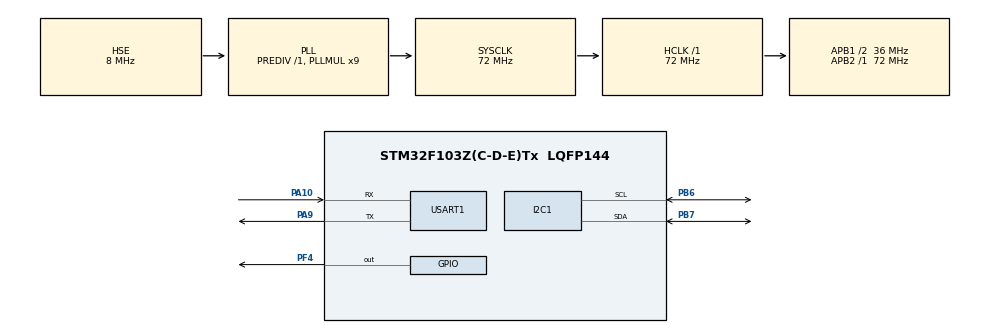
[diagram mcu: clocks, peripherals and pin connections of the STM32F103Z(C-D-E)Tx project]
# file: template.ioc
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Mcu.Family=STM32F1
Mcu.Name=STM32F103Z(C-D-E)Tx
Mcu.Package=LQFP144
NVIC.I2C1_ER_IRQn=true\:0\:0\:false\:false\:true\:true
NVIC.I2C1_EV_IRQn=true\:0\:0\:false\:false\:true\:true
NVIC.PriorityGroup=NVIC_PRIORITYGROUP_4
NVIC.USART1_IRQn=true\:0\:0\:false\:false\:true\:true
OSC_IN.Mode=HSE-External-Oscillator
OSC_IN.Signal=RCC_OSC_IN
OSC_OUT.Mode=HSE-External-Oscillator
OSC_OUT.Signal=RCC_OSC_OUT
PA10.GPIO_PuPd=GPIO_PULLUP
PA10.Mode=Asynchronous
PA10.Signal=USART1_RX
PA13.Mode=Trace_Synchro_4bits_SW
PA13.Signal=SYS_JTMS-SWDIO
PA14.Mode=Trace_Synchro_4bits_SW
PA14.Signal=SYS_JTCK-SWCLK
PA9.GPIO_Speed=GPIO_SPEED_FREQ_MEDIUM
PA9.Mode=Asynchronous
PA9.Signal=USART1_TX
PB6.Mode=I2C
PB6.Signal=I2C1_SCL
PB7.Mode=I2C
PB7.Signal=I2C1_SDA
PC14-OSC32_IN.Mode=LSE-External-Oscillator
PC14-OSC32_IN.Signal=RCC_OSC32_IN
PC15-OSC32_OUT.Mode=LSE-External-Oscillator
PC15-OSC32_OUT.Signal=RCC_OSC32_OUT
PE2.Mode=Trace_Synchro_4bits_SW
PE2.Signal=SYS_TRACECLK
PE3.Mode=Trace_Synchro_4bits_SW
PE3.Signal=SYS_TRACED0
PE4.Mode=Trace_Synchro_4bits_SW
PE4.Signal=SYS_TRACED1
PE5.Mode=Trace_Synchro_4bits_SW
PE5.Signal=SYS_TRACED2
PE6.Mode=Trace_Synchro_4bits_SW
PE6.Signal=SYS_TRACED3
PF4.Signal=GPIO_Output
ProjectManager.HeapSize=0x200
ProjectManager.StackSize=0x400
ProjectManager.TargetToolchain=MDK-ARM V5
RCC.AHBFreq_Value=72000000
RCC.APB1CLKDivider=RCC_HCLK_DIV2
RCC.APB1Freq_Value=36000000
RCC.APB1TimFreq_Value=72000000
RCC.APB2Freq_Value=72000000
RCC.APB2TimFreq_Value=72000000
RCC.HCLKFreq_Value=72000000
RCC.PLLMUL=RCC_PLL_MUL9
RCC.PLLSourceVirtual=RCC_PLLSOURCE_HSE
RCC.SYSCLKFreq_VALUE=72000000
RCC.SYSCLKSource=RCC_SYSCLKSOURCE_PLLCLK
RCC.USBFreq_Value=72000000
USART1.VirtualMode=VM_ASYNC
board=template

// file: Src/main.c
/**
  ******************************************************************************
  * @file           : main.c
  * @brief          : Main program body
  ******************************************************************************
  ** This notice applies to any and all portions of this file
  * that are not between comment pairs USER CODE BEGIN and
  * USER CODE END. Other portions of this file, whether
  * inserted by the user or by software development tools
  * are owned by their respective copyright owners.
  *
  * COPYRIGHT(c) 2018 STMicroelectronics
  *
  * Redistribution and use in source and binary forms, with or without modification,
  * are permitted provided that the following conditions are met:
  *   1. Redistributions of source code must retain the above copyright notice,
  *      this list of conditions and the following disclaimer.
  *   2. Redistributions in binary form must reproduce the above copyright notice,
  *      this list of conditions and the following disclaimer in the documentation
  *      and/or other materials provided with the distribution.
  *   3. Neither the name of STMicroelectronics nor the names of its contributors
  *      may be used to endorse or promote products derived from this software
  *      without specific prior written permission.
  *
  * THIS SOFTWARE IS PROVIDED BY THE COPYRIGHT HOLDERS AND CONTRIBUTORS "AS IS"
  * AND ANY EXPRESS OR IMPLIED WARRANTIES, INCLUDING, BUT NOT LIMITED TO, THE
  * IMPLIED WARRANTIES OF MERCHANTABILITY AND FITNESS FOR A PARTICULAR PURPOSE ARE
  * DISCLAIMED. IN NO EVENT SHALL THE COPYRIGHT HOLDER OR CONTRIBUTORS BE LIABLE
  * FOR ANY DIRECT, INDIRECT, INCIDENTAL, SPECIAL, EXEMPLARY, OR CONSEQUENTIAL
  * DAMAGES (INCLUDING, BUT NOT LIMITED TO, PROCUREMENT OF SUBSTITUTE GOODS OR
  * SERVICES; LOSS OF USE, DATA, OR PROFITS; OR BUSINESS INTERRUPTION) HOWEVER
  * CAUSED AND ON ANY THEORY OF LIABILITY, WHETHER IN CONTRACT, STRICT LIABILITY,
  * OR TORT (INCLUDING NEGLIGENCE OR OTHERWISE) ARISING IN ANY WAY OUT OF THE USE
  * OF THIS SOFTWARE, EVEN IF ADVISED OF THE POSSIBILITY OF SUCH DAMAGE.
  *
  ******************************************************************************
  */

/**
	******************************************************************************
	* @user                   IIC接口定义
	******************************************************************************
	*
	*							 GND   电源地
  *              VCC   接3.3v电源
  *              SCL   接PB6（SCL）
  *              SDA   接PB7（SDA）
	*
	*******************************************************************************
	*/

#include "main.h"
#include "stm32f1xx_hal.h"
#include "i2c.h"
#include "usart.h"
#include "gpio.h"
#include "delay.h"
#include "oled.h"
#include "bmp.h"
#include "24c02.h"
#include "stdio.h"
#include "string.h"

/* USER CODE BEGIN PV */
/* Private variables ---------------------------------------------------------*/
	uint8_t TEXT_Buffer2[4][8] = {"STM32Cub","eMX & KE","IL_RTE I","IC TEST"};
	uint8_t TEXT_Buffer[] = {"STM32CubeMX & KEIL_RTE IIC TEST"};
	#define SIZE_OF_BUF sizeof(TEXT_Buffer)
	uint8_t datatemp[SIZE_OF_BUF];
	uint8_t time_buff[7] = {0,0,12,1,7,5,24};  //24=00011000——18的BCD码
	extern	I2C_HandleTypeDef  hi2c1;
	volatile unsigned int timenum;
	volatile unsigned long time_delay;
	uint16_t w24c02=0xA0 ;
	uint16_t r24c02=0xA1 ;
	uint16_t OLED=0x78 ;
	uint16_t DS3231_w=0xD0 ;
	uint16_t DS3231_r=0xD1 ;
	uint16_t DS3231_24c02_w=0xAE ;
	uint16_t DS3231_24c02_r=0xAF ;
/* USER CODE END PV */

void SystemClock_Config(void);

/* USER CODE BEGIN PFP */
/* Private function prototypes -----------------------------------------------*/

/* USER CODE END PFP */

int main(void)
{
  /* USER CODE BEGIN 1 */
	//uint8_t *pData=TEXT_Buffer;
	uint16_t Size=SIZE_OF_BUF;
	uint32_t Timeout=1000;
	uint8_t t=' ';
	uint8_t second=0,year=0;
//	uint8_t minute=0,hour=0,day=0,month=0;

  /* USER CODE END 1 */

  /* MCU Configuration----------------------------------------------------------*/

  /* Reset of all peripherals, Initializes the Flash interface and the Systick. */
  HAL_Init();

  /* Configure the system clock */
  SystemClock_Config();

  /* Initialize all configured peripherals */
  MX_GPIO_Init();
  MX_USART1_UART_Init();
  MX_I2C1_Init();
	OLED_Init();
	OLED_Clear();

	printf(" \r\n  \r\n *******************  BEGIN ! *******************\r\n  \r\n");
	if(HAL_I2C_IsDeviceReady(&hi2c1, OLED, 3, Timeout)== HAL_OK)
	printf("OLED is ready ! \r\n");
	delay_ms(10);
	if(HAL_I2C_IsDeviceReady(&hi2c1, w24c02, 3, Timeout)== HAL_OK)
	printf("24c02 is ready ! \r\n");
	delay_ms(10);
	if(HAL_I2C_IsDeviceReady(&hi2c1, DS3231_w, 3, Timeout)== HAL_OK)
	printf("DS3231 is ready ! \r\n");
	delay_ms(10);
	if(HAL_I2C_IsDeviceReady(&hi2c1, DS3231_24c02_w, 3, Timeout)== HAL_OK)
	printf("DS3231_24c02 is ready ! \r\n");
	delay_ms(10);
	printf(" \r\n  \r\n   \r\n");
  /* USER CODE BEGIN 2 */
	//OLED第一页
	OLED_ShowCHinese(0,0,0);//中
	OLED_ShowCHinese(18,0,1);//景
	OLED_ShowCHinese(36,0,2);//园
	OLED_ShowCHinese(54,0,3);//电
	OLED_ShowCHinese(72,0,4);//子
	OLED_ShowCHinese(90,0,5);//科
	OLED_ShowCHinese(108,0,6);//技
	OLED_ShowString(6,3,"0.96' OLED TEST",16);
	OLED_ShowString(0,6,"ASCII:",16);
	OLED_ShowString(63,6,"CODE:",16);
	OLED_ShowChar(48,6,t,16);//显示ASCII字符
	t++;	if(t>'~')t=' ';
	OLED_ShowNum(103,6,t,3,16);//显示ASCII字符的码值
	delay_ms(3000);
	//OLED第二页
	OLED_DrawBMP(0,0,128,8,BMP1);  //图片显示(图片显示慎用，生成的字表较大，会占用较多空间，FLASH空间8K以下慎用)
	delay_ms_it(3000);
	//OLED第三页
	OLED_DrawBMP(0,0,128,8,BMP2);
	delay_ms_it(3000);
	OLED_Clear();

	//写24c02
	HAL_I2C_Mem_Write(&hi2c1, w24c02,0,I2C_MEMADD_SIZE_8BIT,"abcdefghi",8,1500);
	delay_ms(5);
	HAL_I2C_Mem_Write(&hi2c1, w24c02,8,I2C_MEMADD_SIZE_8BIT,"12345678",8,1500);
	delay_ms(5);
	printf("written %d bytes into 24C02 success ! \r\n" ,Size);
	//读24c02
	while(HAL_I2C_Mem_Read(&hi2c1, r24c02,0,I2C_MEMADD_SIZE_8BIT,datatemp,8,1500)){		delay_ms(5);	}
	printf("read success ! \r\n");
	printf(" %s \r\n",datatemp);
	//获取I2C总线状态
	//printf("HAL_RCC_GetHCLKFreq = %d \r\n",HAL_RCC_GetHCLKFreq());
	printf(" the state is   %d  \r\n",HAL_I2C_GetState(&hi2c1));
  printf(" the mode is   %d  \r\n",HAL_I2C_GetMode(&hi2c1));
	//uint32_t HAL_I2C_GetError(I2C_HandleTypeDef *hi2c);

	//DS3231初始化
  //HAL_I2C_Master_Transmit(I2C_HandleTypeDef *hi2c, uint16_t DevAddress, uint8_t *pData, uint16_t Size, uint32_t Timeout)
	while(HAL_I2C_Mem_Write(&hi2c1, DS3231_w,0,I2C_MEMADD_SIZE_8BIT,time_buff,7,1500)){		delay_ms(5);		}

  /* USER CODE END 2 */

  /* Infinite loop */
  while (1)
  {

  /* USER CODE BEGIN 3 */
		//OLED第四页
//		OLED_ShowString(0,3,"Hello world ! ",16);
//		delay_ms_it(3000);
//		OLED_Clear();
//		//OLED第五页
//		OLED_DrawBMP(0,0,128,8,BMP2);
//		delay_ms_it(3000);
//		OLED_Clear();
//		//OLED第六页
//		OLED_ShowNum(3, 3,18, 2, 16);
//		delay_ms_it(3000);
//    OLED_Clear();

		//读DS3231
		//HAL_I2C_Master_Transmit(I2C_HandleTypeDef *hi2c, uint16_t DevAddress, uint8_t *pData, uint16_t Size, uint32_t Timeout)
//		while(HAL_I2C_Master_Receive(&hi2c1, DS3231_r, datatemp, 3, 10)){		delay_ms(5);		}
//		printf("read DS3231 success ! \r\n");
//		printf(" %d \r\n",datatemp[0]);
//		printf(" %d \r\n",datatemp[1]);
//		printf(" %d \r\n",datatemp[2]);

		while(HAL_I2C_Mem_Read(&hi2c1, DS3231_r,0,I2C_MEMADD_SIZE_8BIT,datatemp,7,1500)){		delay_ms(200);		}
		//second = time_buff[0]&0x0f;
		//year = time_buff[6]&0x0f;
		if(datatemp[0]^second){
			second = datatemp[0];
			printf(" %d second \r\n",second&0x0f);
			year = datatemp[6];
			printf(" %d year \r\n", ((year>>4)*10)+(year&0x0f));
		}
		//if(datatemp[6]^year){  	}
  }
  /* USER CODE END 3 */

}

void SystemClock_Config(void)
{

  RCC_OscInitTypeDef RCC_OscInitStruct;
  RCC_ClkInitTypeDef RCC_ClkInitStruct;

    /**Initializes the CPU, AHB and APB busses clocks
    */
  RCC_OscInitStruct.OscillatorType = RCC_OSCILLATORTYPE_HSE;
  RCC_OscInitStruct.HSEState = RCC_HSE_ON;
  RCC_OscInitStruct.HSEPredivValue = RCC_HSE_PREDIV_DIV1;
  RCC_OscInitStruct.HSIState = RCC_HSI_ON;
  RCC_OscInitStruct.PLL.PLLState = RCC_PLL_ON;
  RCC_OscInitStruct.PLL.PLLSource = RCC_PLLSOURCE_HSE;
  RCC_OscInitStruct.PLL.PLLMUL = RCC_PLL_MUL9;
  if (HAL_RCC_OscConfig(&RCC_OscInitStruct) != HAL_OK)
  {
    _Error_Handler(__FILE__, __LINE__);
  }

    /**Initializes the CPU, AHB and APB busses clocks
    */
  RCC_ClkInitStruct.ClockType = RCC_CLOCKTYPE_HCLK|RCC_CLOCKTYPE_SYSCLK
                              |RCC_CLOCKTYPE_PCLK1|RCC_CLOCKTYPE_PCLK2;
  RCC_ClkInitStruct.SYSCLKSource = RCC_SYSCLKSOURCE_PLLCLK;
  RCC_ClkInitStruct.AHBCLKDivider = RCC_SYSCLK_DIV1;
  RCC_ClkInitStruct.APB1CLKDivider = RCC_HCLK_DIV2;
  RCC_ClkInitStruct.APB2CLKDivider = RCC_HCLK_DIV1;

  if (HAL_RCC_ClockConfig(&RCC_ClkInitStruct, FLASH_LATENCY_2) != HAL_OK)
  {
    _Error_Handler(__FILE__, __LINE__);
  }

    /**Configure the Systick interrupt time
    */
  HAL_SYSTICK_Config(HAL_RCC_GetHCLKFreq()/1000);

    /**Configure the Systick
    */
  HAL_SYSTICK_CLKSourceConfig(SYSTICK_CLKSOURCE_HCLK);

  /* SysTick_IRQn interrupt configuration */
  HAL_NVIC_SetPriority(SysTick_IRQn, 0, 0);
}

/* USER CODE BEGIN 4 */
int stdout_putchar (int ch){
	while ((USART1->SR &  0x0040) == (uint8_t)RESET);
	USART1->DR = (uint8_t)ch;
	return ch;
}
/* USER CODE END 4 */

void _Error_Handler(char *file, int line)
{
  while(1)
  {
  }
}

/************************ (C) COPYRIGHT STMicroelectronics *****END OF FILE****/
